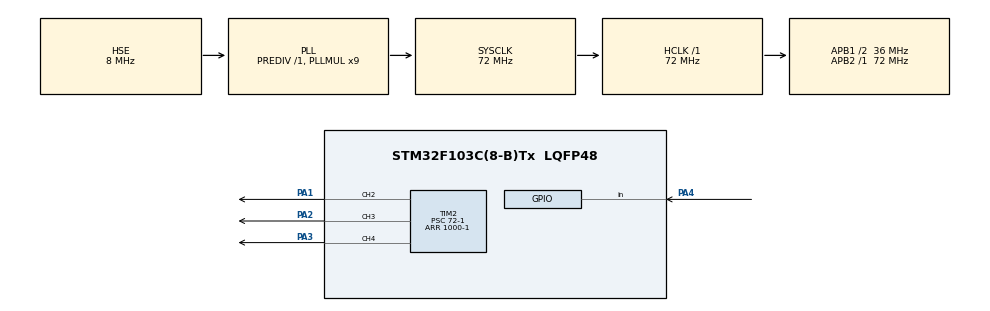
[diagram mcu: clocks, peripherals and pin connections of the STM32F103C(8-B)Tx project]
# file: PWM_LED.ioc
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Mcu.Family=STM32F1
Mcu.Name=STM32F103C(8-B)Tx
Mcu.Package=LQFP48
NVIC.PriorityGroup=NVIC_PRIORITYGROUP_4
PA1.Signal=S_TIM2_CH2
PA13.Mode=Serial_Wire
PA13.Signal=SYS_JTMS-SWDIO
PA14.Mode=Serial_Wire
PA14.Signal=SYS_JTCK-SWCLK
PA2.Signal=S_TIM2_CH3
PA3.Signal=S_TIM2_CH4
PA4.GPIO_PuPd=GPIO_PULLUP
PA4.Signal=GPIO_Input
PD0-OSC_IN.Mode=HSE-External-Oscillator
PD0-OSC_IN.Signal=RCC_OSC_IN
PD1-OSC_OUT.Mode=HSE-External-Oscillator
PD1-OSC_OUT.Signal=RCC_OSC_OUT
ProjectManager.HeapSize=0x200
ProjectManager.StackSize=0x400
ProjectManager.TargetToolchain=MDK-ARM V5
RCC.AHBFreq_Value=72000000
RCC.APB1CLKDivider=RCC_HCLK_DIV2
RCC.APB1Freq_Value=36000000
RCC.APB1TimFreq_Value=72000000
RCC.APB2Freq_Value=72000000
RCC.APB2TimFreq_Value=72000000
RCC.HCLKFreq_Value=72000000
RCC.PLLMUL=RCC_PLL_MUL9
RCC.PLLSourceVirtual=RCC_PLLSOURCE_HSE
RCC.SYSCLKFreq_VALUE=72000000
RCC.SYSCLKSource=RCC_SYSCLKSOURCE_PLLCLK
RCC.USBFreq_Value=72000000
SH.S_TIM2_CH2.0=TIM2_CH2,PWM Generation2 CH2
SH.S_TIM2_CH3.0=TIM2_CH3,PWM Generation3 CH3
SH.S_TIM2_CH4.0=TIM2_CH4,PWM Generation4 CH4
TIM2.Channel-PWM\ Generation2\ CH2=TIM_CHANNEL_2
TIM2.Channel-PWM\ Generation3\ CH3=TIM_CHANNEL_3
TIM2.Channel-PWM\ Generation4\ CH4=TIM_CHANNEL_4
TIM2.OCPolarity_2=TIM_OCPOLARITY_LOW
TIM2.OCPolarity_3=TIM_OCPOLARITY_LOW
TIM2.OCPolarity_4=TIM_OCPOLARITY_LOW
TIM2.Period=1000-1
TIM2.Prescaler=72-1
TIM2.Pulse-PWM\ Generation2\ CH2=0
board=custom

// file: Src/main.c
/* USER CODE BEGIN Header */
/**
  ******************************************************************************
  * @file           : main.c
  * @brief          : Main program body
  ******************************************************************************
  ** This notice applies to any and all portions of this file
  * that are not between comment pairs USER CODE BEGIN and
  * USER CODE END. Other portions of this file, whether
  * inserted by the user or by software development tools
  * are owned by their respective copyright owners.
  *
  * COPYRIGHT(c) 2019 STMicroelectronics
  *
  * Redistribution and use in source and binary forms, with or without modification,
  * are permitted provided that the following conditions are met:
  *   1. Redistributions of source code must retain the above copyright notice,
  *      this list of conditions and the following disclaimer.
  *   2. Redistributions in binary form must reproduce the above copyright notice,
  *      this list of conditions and the following disclaimer in the documentation
  *      and/or other materials provided with the distribution.
  *   3. Neither the name of STMicroelectronics nor the names of its contributors
  *      may be used to endorse or promote products derived from this software
  *      without specific prior written permission.
  *
  * THIS SOFTWARE IS PROVIDED BY THE COPYRIGHT HOLDERS AND CONTRIBUTORS "AS IS"
  * AND ANY EXPRESS OR IMPLIED WARRANTIES, INCLUDING, BUT NOT LIMITED TO, THE
  * IMPLIED WARRANTIES OF MERCHANTABILITY AND FITNESS FOR A PARTICULAR PURPOSE ARE
  * DISCLAIMED. IN NO EVENT SHALL THE COPYRIGHT HOLDER OR CONTRIBUTORS BE LIABLE
  * FOR ANY DIRECT, INDIRECT, INCIDENTAL, SPECIAL, EXEMPLARY, OR CONSEQUENTIAL
  * DAMAGES (INCLUDING, BUT NOT LIMITED TO, PROCUREMENT OF SUBSTITUTE GOODS OR
  * SERVICES; LOSS OF USE, DATA, OR PROFITS; OR BUSINESS INTERRUPTION) HOWEVER
  * CAUSED AND ON ANY THEORY OF LIABILITY, WHETHER IN CONTRACT, STRICT LIABILITY,
  * OR TORT (INCLUDING NEGLIGENCE OR OTHERWISE) ARISING IN ANY WAY OUT OF THE USE
  * OF THIS SOFTWARE, EVEN IF ADVISED OF THE POSSIBILITY OF SUCH DAMAGE.
  *
  ******************************************************************************
  */
/* USER CODE END Header */

#include "main.h"

/* USER CODE BEGIN Includes */
#include "stdlib.h"
/* USER CODE END Includes */

TIM_HandleTypeDef htim2;

/* USER CODE BEGIN PV */
uint8_t flag_rand_r=0,flag_rand_g=0,flag_rand_b=0;
const uint16_t RGBCycle = 1000;
/* USER CODE END PV */

void SystemClock_Config(void);
static void MX_GPIO_Init(void);
static void MX_TIM2_Init(void);
/* USER CODE BEGIN PFP */

void change_RED(void);
void change_BLUE(void);
void change_GREEN(void);

/* USER CODE END PFP */

int main(void)
{
  /* USER CODE BEGIN 1 */

uint16_t dutyCycle = 0;
	uint16_t dutyCycle1 = 0;
	uint16_t dutyCycle2 = 0;
	uint16_t dutyCycle3 = 0;

  /* USER CODE END 1 */

  /* MCU Configuration--------------------------------------------------------*/

  /* Reset of all peripherals, Initializes the Flash interface and the Systick. */
  HAL_Init();

  /* Configure the system clock */
  SystemClock_Config();

  /* Initialize all configured peripherals */
  MX_GPIO_Init();
  MX_TIM2_Init();
  /* USER CODE BEGIN 2 */

  HAL_TIM_PWM_Start(&htim2,TIM_CHANNEL_2);
	 HAL_TIM_PWM_Start(&htim2,TIM_CHANNEL_3);
	  HAL_TIM_PWM_Start(&htim2,TIM_CHANNEL_4);

	 //HAL_TIM_Base_Start_IT(&htim3);

  /* USER CODE END 2 */

  /* Infinite loop */
  /* USER CODE BEGIN WHILE */
  while (1)
  {

//		while (dutyCycle < 1000)//�ӵ�1000�˳�
//	  {
//		  dutyCycle ++;
//		  __HAL_TIM_SET_COMPARE(&htim2, TIM_CHANNEL_2, dutyCycle);
////		  TIM3->CCR2 = dutyCycle;
//		  HAL_Delay(200);
//	  }
//	  while (dutyCycle)//�������˳�
//	  {
//		  dutyCycle --;
//		  __HAL_TIM_SET_COMPARE(&htim2, TIM_CHANNEL_2, dutyCycle);
////		  TIM3->CCR2 = dutyCycle;
//		  HAL_Delay(200);
//	  }

	 // HAL_Delay(200);

   change_RED();
 change_BLUE();
  change_GREEN();

    /* USER CODE END WHILE */

  }
}

void SystemClock_Config(void)
{
  RCC_OscInitTypeDef RCC_OscInitStruct = {0};
  RCC_ClkInitTypeDef RCC_ClkInitStruct = {0};

  /**Initializes the CPU, AHB and APB busses clocks
  */
  RCC_OscInitStruct.OscillatorType = RCC_OSCILLATORTYPE_HSE;
  RCC_OscInitStruct.HSEState = RCC_HSE_ON;
  RCC_OscInitStruct.HSEPredivValue = RCC_HSE_PREDIV_DIV1;
  RCC_OscInitStruct.HSIState = RCC_HSI_ON;
  RCC_OscInitStruct.PLL.PLLState = RCC_PLL_ON;
  RCC_OscInitStruct.PLL.PLLSource = RCC_PLLSOURCE_HSE;
  RCC_OscInitStruct.PLL.PLLMUL = RCC_PLL_MUL9;
  if (HAL_RCC_OscConfig(&RCC_OscInitStruct) != HAL_OK)
  {
    Error_Handler();
  }
  /**Initializes the CPU, AHB and APB busses clocks
  */
  RCC_ClkInitStruct.ClockType = RCC_CLOCKTYPE_HCLK|RCC_CLOCKTYPE_SYSCLK
                              |RCC_CLOCKTYPE_PCLK1|RCC_CLOCKTYPE_PCLK2;
  RCC_ClkInitStruct.SYSCLKSource = RCC_SYSCLKSOURCE_PLLCLK;
  RCC_ClkInitStruct.AHBCLKDivider = RCC_SYSCLK_DIV1;
  RCC_ClkInitStruct.APB1CLKDivider = RCC_HCLK_DIV2;
  RCC_ClkInitStruct.APB2CLKDivider = RCC_HCLK_DIV1;

  if (HAL_RCC_ClockConfig(&RCC_ClkInitStruct, FLASH_LATENCY_2) != HAL_OK)
  {
    Error_Handler();
  }
}

static void MX_TIM2_Init(void)
{

  TIM_MasterConfigTypeDef sMasterConfig = {0};
  TIM_OC_InitTypeDef sConfigOC = {0};

  htim2.Instance = TIM2;
  htim2.Init.Prescaler = 72-1;
  htim2.Init.CounterMode = TIM_COUNTERMODE_UP;
  htim2.Init.Period = 1000-1;
  htim2.Init.ClockDivision = TIM_CLOCKDIVISION_DIV1;
  htim2.Init.AutoReloadPreload = TIM_AUTORELOAD_PRELOAD_DISABLE;
  if (HAL_TIM_PWM_Init(&htim2) != HAL_OK)
  {
    Error_Handler();
  }
  sMasterConfig.MasterOutputTrigger = TIM_TRGO_RESET;
  sMasterConfig.MasterSlaveMode = TIM_MASTERSLAVEMODE_DISABLE;
  if (HAL_TIMEx_MasterConfigSynchronization(&htim2, &sMasterConfig) != HAL_OK)
  {
    Error_Handler();
  }
  sConfigOC.OCMode = TIM_OCMODE_PWM1;
  sConfigOC.Pulse = 0;
  sConfigOC.OCPolarity = TIM_OCPOLARITY_LOW;
  sConfigOC.OCFastMode = TIM_OCFAST_DISABLE;
  if (HAL_TIM_PWM_ConfigChannel(&htim2, &sConfigOC, TIM_CHANNEL_2) != HAL_OK)
  {
    Error_Handler();
  }
  if (HAL_TIM_PWM_ConfigChannel(&htim2, &sConfigOC, TIM_CHANNEL_3) != HAL_OK)
  {
    Error_Handler();
  }
  if (HAL_TIM_PWM_ConfigChannel(&htim2, &sConfigOC, TIM_CHANNEL_4) != HAL_OK)
  {
    Error_Handler();
  }
  HAL_TIM_MspPostInit(&htim2);

}

static void MX_GPIO_Init(void)
{
  GPIO_InitTypeDef GPIO_InitStruct = {0};

  /* GPIO Ports Clock Enable */
  __HAL_RCC_GPIOD_CLK_ENABLE();
  __HAL_RCC_GPIOA_CLK_ENABLE();

  /*Configure GPIO pin : PA4 */
  GPIO_InitStruct.Pin = GPIO_PIN_4;
  GPIO_InitStruct.Mode = GPIO_MODE_INPUT;
  GPIO_InitStruct.Pull = GPIO_PULLUP;
  HAL_GPIO_Init(GPIOA, &GPIO_InitStruct);

}

/* USER CODE BEGIN 4 */

void change_RED(void){
	static uint8_t red=0;
	static uint16_t duty=999;
	if(flag_rand_r )	{	duty = rand()%1000 ;}
	if(red==0)
	{duty++;
	if(duty == RGBCycle){red=1;}
	}
	else{
	duty--;
	if(duty == 0){red=0;}
	}
	  HAL_Delay(1);
	__HAL_TIM_SET_COMPARE(&htim2, TIM_CHANNEL_2, duty);//red
}

void change_BLUE(void){
	static uint8_t blue=0;
	static uint16_t duty=500;
		if(flag_rand_b )	{	duty = rand()%1000 ;}
	if(blue==0)
	{duty++;
	if(duty == RGBCycle){blue=1;}
	}
	else{
	duty--;
	if(duty == 0){blue=0;}
	}
	 HAL_Delay(1);
 __HAL_TIM_SET_COMPARE(&htim2, TIM_CHANNEL_4, duty);//blue
}

void change_GREEN(void){
	static uint8_t green=0;
	static uint16_t duty=0;
		if(flag_rand_g )	{	duty = rand()%1000 ;}
	if(green==0)
	{duty++;
	if(duty == RGBCycle){green=1;}
	}
	else{
	duty--;
	if(duty == 0){green=0;}
	}
	 HAL_Delay(1);
 __HAL_TIM_SET_COMPARE(&htim2, TIM_CHANNEL_3, duty);//green
}

/* USER CODE END 4 */

void Error_Handler(void)
{
}

/************************ (C) COPYRIGHT STMicroelectronics *****END OF FILE****/
